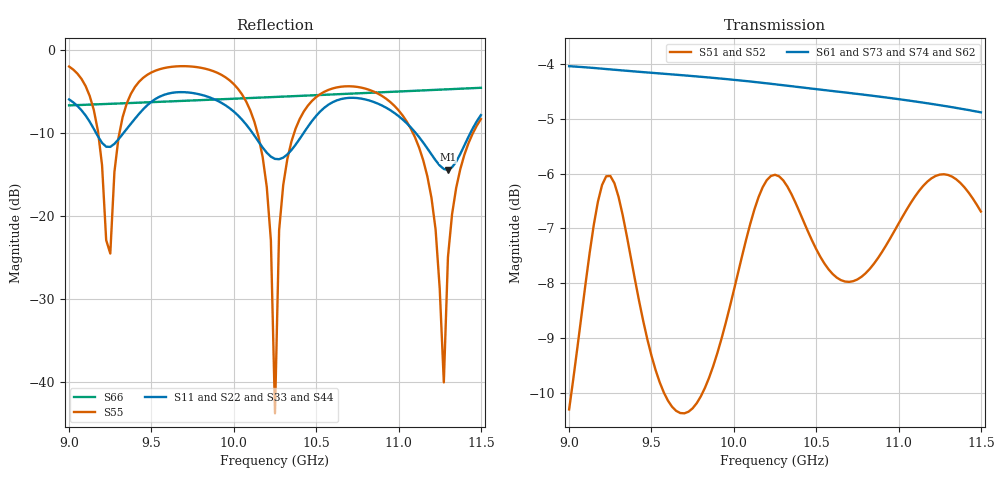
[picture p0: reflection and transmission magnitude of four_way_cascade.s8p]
! Four-way cascade: IN1 IN2 IN3 IN4 OUT DUMP_A DUMP_B DUMP_C
# GHz S MA R 50
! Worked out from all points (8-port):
!   101 points, 9 GHz to 11.5 GHz, reference 50 ohm
!   strongest paths, dB at 9 GHz, 9.625 GHz, 10.25 GHz, 10.88 GHz, 11.5 GHz:
!     S61: -4.0, -4.2, -4.4, -4.6, -4.9
!     S73: -4.0, -4.2, -4.4, -4.6, -4.9
!     S74: -4.1, -4.2, -4.4, -4.6, -4.8
!     S62: -4.1, -4.2, -4.4, -4.6, -4.8
!     S51: -10.3, -10.2, -6.0, -7.5, -6.7
!     S52: -10.3, -10.2, -6.0, -7.5, -6.7
!   lowest |S11| = -14.5 dB at 11.3 GHz (marker M1), VSWR 1.47, Z = 36.3 + j9.07 ohm
!   |S11| at or under -10 dB: 9.163 GHz to 9.332 GHz (168.6 MHz wide, 1.82 % of centre); 10.11 GHz to 10.42 GHz (312.4 MHz wide, 3.04 % of centre); 11.1 GHz to 11.44 GHz (334.1 MHz wide, 2.96 % of centre)
